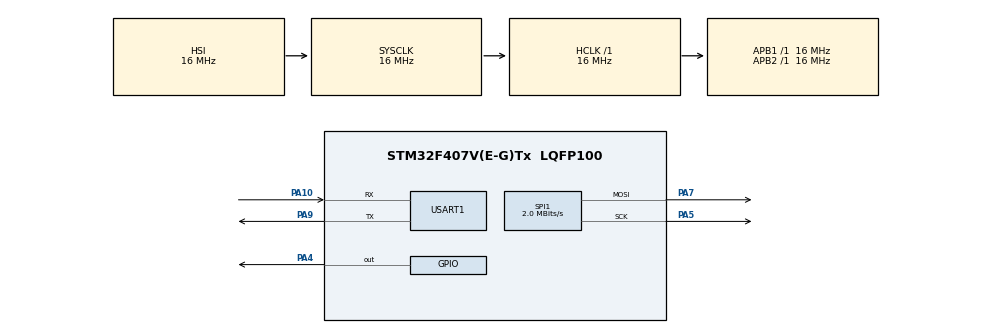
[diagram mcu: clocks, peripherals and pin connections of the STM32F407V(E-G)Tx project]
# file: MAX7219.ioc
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Mcu.Family=STM32F4
Mcu.Name=STM32F407V(E-G)Tx
Mcu.Package=LQFP100
NVIC.PriorityGroup=NVIC_PRIORITYGROUP_4
NVIC.USART1_IRQn=true\:0\:0\:false\:false\:true\:true
PA10.Mode=Asynchronous
PA10.Signal=USART1_RX
PA13.Mode=Serial_Wire
PA13.Signal=SYS_JTMS-SWDIO
PA14.Mode=Serial_Wire
PA14.Signal=SYS_JTCK-SWCLK
PA4.Signal=GPIO_Output
PA5.Mode=TX_Only_Simplex_Unidirect_Master
PA5.Signal=SPI1_SCK
PA7.Mode=TX_Only_Simplex_Unidirect_Master
PA7.Signal=SPI1_MOSI
PA9.Mode=Asynchronous
PA9.Signal=USART1_TX
ProjectManager.HeapSize=0x000
ProjectManager.StackSize=0x400
ProjectManager.TargetToolchain=Other Toolchains (GPDSC)
RCC.AHBFreq_Value=16000000
RCC.APB1Freq_Value=16000000
RCC.APB2Freq_Value=16000000
RCC.CortexFreq_Value=16000000
RCC.HSE_VALUE=25000000
RCC.HSI_VALUE=16000000
RCC.LSE_VALUE=32768
RCC.SYSCLKFreq_VALUE=16000000
RCC.VCOOutputFreq_Value=192000000
SPI1.BaudRatePrescaler=SPI_BAUDRATEPRESCALER_8
SPI1.CalculateBaudRate=2.0 MBits/s
SPI1.DataSize=SPI_DATASIZE_16BIT
SPI1.Direction=SPI_DIRECTION_2LINES
SPI1.Mode=SPI_MODE_MASTER
SPI1.VirtualType=VM_MASTER
USART1.VirtualMode=VM_ASYNC
board=MAX7219

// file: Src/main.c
/* USER CODE BEGIN Header */
/**
  ******************************************************************************
  * @file           : main.c
  * @brief          : Main program body
  ******************************************************************************
  ** This notice applies to any and all portions of this file
  * that are not between comment pairs USER CODE BEGIN and
  * USER CODE END. Other portions of this file, whether
  * inserted by the user or by software development tools
  * are owned by their respective copyright owners.
  *
  * COPYRIGHT(c) 2019 STMicroelectronics
  *
  * Redistribution and use in source and binary forms, with or without modification,
  * are permitted provided that the following conditions are met:
  *   1. Redistributions of source code must retain the above copyright notice,
  *      this list of conditions and the following disclaimer.
  *   2. Redistributions in binary form must reproduce the above copyright notice,
  *      this list of conditions and the following disclaimer in the documentation
  *      and/or other materials provided with the distribution.
  *   3. Neither the name of STMicroelectronics nor the names of its contributors
  *      may be used to endorse or promote products derived from this software
  *      without specific prior written permission.
  *
  * THIS SOFTWARE IS PROVIDED BY THE COPYRIGHT HOLDERS AND CONTRIBUTORS "AS IS"
  * AND ANY EXPRESS OR IMPLIED WARRANTIES, INCLUDING, BUT NOT LIMITED TO, THE
  * IMPLIED WARRANTIES OF MERCHANTABILITY AND FITNESS FOR A PARTICULAR PURPOSE ARE
  * DISCLAIMED. IN NO EVENT SHALL THE COPYRIGHT HOLDER OR CONTRIBUTORS BE LIABLE
  * FOR ANY DIRECT, INDIRECT, INCIDENTAL, SPECIAL, EXEMPLARY, OR CONSEQUENTIAL
  * DAMAGES (INCLUDING, BUT NOT LIMITED TO, PROCUREMENT OF SUBSTITUTE GOODS OR
  * SERVICES; LOSS OF USE, DATA, OR PROFITS; OR BUSINESS INTERRUPTION) HOWEVER
  * CAUSED AND ON ANY THEORY OF LIABILITY, WHETHER IN CONTRACT, STRICT LIABILITY,
  * OR TORT (INCLUDING NEGLIGENCE OR OTHERWISE) ARISING IN ANY WAY OUT OF THE USE
  * OF THIS SOFTWARE, EVEN IF ADVISED OF THE POSSIBILITY OF SUCH DAMAGE.
  *
  ******************************************************************************
  */
/* USER CODE END Header */

#include "main.h"

/* USER CODE BEGIN Includes */
extern   MAX7219_MatrixDisplay<4, 1> display;
/* USER CODE END Includes */

SPI_HandleTypeDef hspi1;

UART_HandleTypeDef huart1;

/* USER CODE BEGIN PV */
/* Private variables ---------------------------------------------------------*/
uint8_t Received;
/* USER CODE END PV */

void SystemClock_Config(void);
static void MX_GPIO_Init(void);
static void MX_SPI1_Init(void);
static void MX_USART1_UART_Init(void);
/* USER CODE BEGIN PFP */
/* Private function prototypes -----------------------------------------------*/
void HAL_UART_RxCpltCallback(UART_HandleTypeDef *huart) {

	uint8_t Data[50];  // Tablica przechowujaca wysylana wiadomosc.
	uint16_t size = 0;  // Rozmiar wysylanej wiadomosci

	// Odebrany znak zostaje przekonwertowany na liczbe calkowita i sprawdzony
	// instrukcja warunkowa
	switch(atoi(&Received)) {

	case 97: // Jezeli odebrany zostanie znak 0
	size = sprintf(Data, "STOP\n\r");
		display.writeLetter('a');
		break;

	default: // Jezeli odebrano nieobslugiwany znak
	size = sprintf(Data, "Odebrano nieznany znak: %c\n\r", Received);
		break;
	}

	HAL_UART_Transmit_IT(&huart1, Data, size);  // Rozpoczecie nadawania danych z wykorzystaniem przerwan
	HAL_UART_Receive_IT(&huart1, &Received, 1);  // Ponowne w³¹czenie nas³uchiwania
}
extern void example();
/* USER CODE END PFP */

int main(void)
{

  /* MCU Configuration--------------------------------------------------------*/

  /* Reset of all peripherals, Initializes the Flash interface and the Systick. */
  HAL_Init();

  /* Configure the system clock */
  SystemClock_Config();

  /* Initialize all configured peripherals */
  MX_GPIO_Init();
  MX_SPI1_Init();
  MX_USART1_UART_Init();
  /* USER CODE BEGIN 2 */
  example();
  /* USER CODE END 2 */

  /* Infinite loop */
  while (1)
  {

  }
}

void SystemClock_Config(void)
{
  RCC_OscInitTypeDef RCC_OscInitStruct = {0};
  RCC_ClkInitTypeDef RCC_ClkInitStruct = {0};

  /**Configure the main internal regulator output voltage
  */
  __HAL_RCC_PWR_CLK_ENABLE();
  __HAL_PWR_VOLTAGESCALING_CONFIG(PWR_REGULATOR_VOLTAGE_SCALE1);
  /**Initializes the CPU, AHB and APB busses clocks
  */
  RCC_OscInitStruct.OscillatorType = RCC_OSCILLATORTYPE_HSI;
  RCC_OscInitStruct.HSIState = RCC_HSI_ON;
  RCC_OscInitStruct.HSICalibrationValue = RCC_HSICALIBRATION_DEFAULT;
  RCC_OscInitStruct.PLL.PLLState = RCC_PLL_NONE;
  if (HAL_RCC_OscConfig(&RCC_OscInitStruct) != HAL_OK)
  {
    Error_Handler();
  }
  /**Initializes the CPU, AHB and APB busses clocks
  */
  RCC_ClkInitStruct.ClockType = RCC_CLOCKTYPE_HCLK|RCC_CLOCKTYPE_SYSCLK
                              |RCC_CLOCKTYPE_PCLK1|RCC_CLOCKTYPE_PCLK2;
  RCC_ClkInitStruct.SYSCLKSource = RCC_SYSCLKSOURCE_HSI;
  RCC_ClkInitStruct.AHBCLKDivider = RCC_SYSCLK_DIV1;
  RCC_ClkInitStruct.APB1CLKDivider = RCC_HCLK_DIV1;
  RCC_ClkInitStruct.APB2CLKDivider = RCC_HCLK_DIV1;

  if (HAL_RCC_ClockConfig(&RCC_ClkInitStruct, FLASH_LATENCY_0) != HAL_OK)
  {
    Error_Handler();
  }
}

static void MX_SPI1_Init(void)
{

  /* SPI1 parameter configuration*/
  hspi1.Instance = SPI1;
  hspi1.Init.Mode = SPI_MODE_MASTER;
  hspi1.Init.Direction = SPI_DIRECTION_2LINES;
  hspi1.Init.DataSize = SPI_DATASIZE_16BIT;
  hspi1.Init.CLKPolarity = SPI_POLARITY_LOW;
  hspi1.Init.CLKPhase = SPI_PHASE_1EDGE;
  hspi1.Init.NSS = SPI_NSS_SOFT;
  hspi1.Init.BaudRatePrescaler = SPI_BAUDRATEPRESCALER_8;
  hspi1.Init.FirstBit = SPI_FIRSTBIT_MSB;
  hspi1.Init.TIMode = SPI_TIMODE_DISABLE;
  hspi1.Init.CRCCalculation = SPI_CRCCALCULATION_DISABLE;
  hspi1.Init.CRCPolynomial = 10;
  if (HAL_SPI_Init(&hspi1) != HAL_OK)
  {
    Error_Handler();
  }

}

static void MX_USART1_UART_Init(void)
{

  huart1.Instance = USART1;
  huart1.Init.BaudRate = 115200;
  huart1.Init.WordLength = UART_WORDLENGTH_8B;
  huart1.Init.StopBits = UART_STOPBITS_1;
  huart1.Init.Parity = UART_PARITY_NONE;
  huart1.Init.Mode = UART_MODE_TX_RX;
  huart1.Init.HwFlowCtl = UART_HWCONTROL_NONE;
  huart1.Init.OverSampling = UART_OVERSAMPLING_16;
  if (HAL_UART_Init(&huart1) != HAL_OK)
  {
    Error_Handler();
  }

}

static void MX_GPIO_Init(void)
{
  GPIO_InitTypeDef GPIO_InitStruct = {0};

  /* GPIO Ports Clock Enable */
  __HAL_RCC_GPIOA_CLK_ENABLE();

  /*Configure GPIO pin Output Level */
  HAL_GPIO_WritePin(GPIOA, GPIO_PIN_4, GPIO_PIN_RESET);

  /*Configure GPIO pin : PA4 */
  GPIO_InitStruct.Pin = GPIO_PIN_4;
  GPIO_InitStruct.Mode = GPIO_MODE_OUTPUT_PP;
  GPIO_InitStruct.Pull = GPIO_NOPULL;
  GPIO_InitStruct.Speed = GPIO_SPEED_FREQ_LOW;
  HAL_GPIO_Init(GPIOA, &GPIO_InitStruct);

}

void Error_Handler(void)
{
}

/************************ (C) COPYRIGHT STMicroelectronics *****END OF FILE****/
